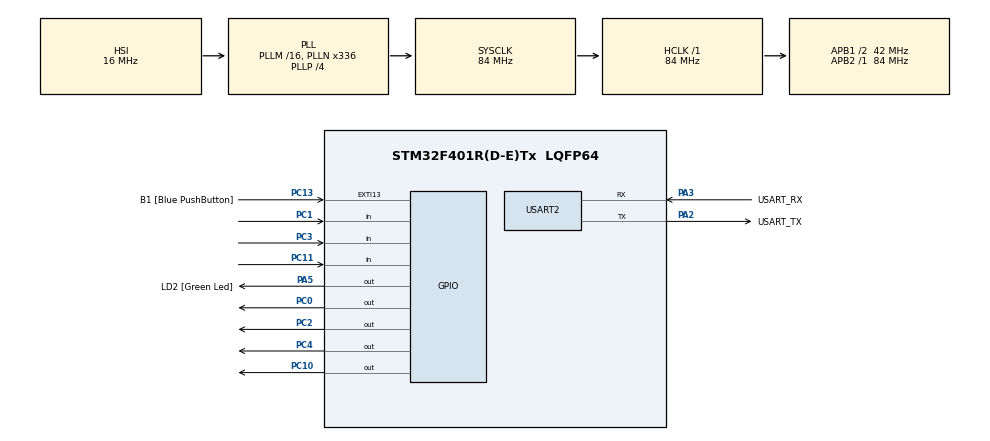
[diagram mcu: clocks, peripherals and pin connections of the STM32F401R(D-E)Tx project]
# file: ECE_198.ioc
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Mcu.Family=STM32F4
Mcu.Name=STM32F401R(D-E)Tx
Mcu.Package=LQFP64
NVIC.PriorityGroup=NVIC_PRIORITYGROUP_0
PA13.GPIO_Label=TMS
PA13.Mode=Serial_Wire
PA13.Signal=SYS_JTMS-SWDIO
PA14.GPIO_Label=TCK
PA14.Mode=Serial_Wire
PA14.Signal=SYS_JTCK-SWCLK
PA2.GPIO_Label=USART_TX
PA2.GPIO_Mode=GPIO_MODE_AF_PP
PA2.GPIO_PuPd=GPIO_NOPULL
PA2.GPIO_Speed=GPIO_SPEED_FREQ_LOW
PA2.Mode=Asynchronous
PA2.Signal=USART2_TX
PA3.GPIO_Label=USART_RX
PA3.GPIO_Mode=GPIO_MODE_AF_PP
PA3.GPIO_PuPd=GPIO_NOPULL
PA3.GPIO_Speed=GPIO_SPEED_FREQ_LOW
PA3.Mode=Asynchronous
PA3.Signal=USART2_RX
PA5.GPIO_Label=LD2 [Green Led]
PA5.GPIO_Mode=GPIO_MODE_OUTPUT_PP
PA5.GPIO_PuPd=GPIO_NOPULL
PA5.GPIO_Speed=GPIO_SPEED_FREQ_LOW
PA5.Signal=GPIO_Output
PB3.GPIO_Label=SWO
PB3.Signal=SYS_JTDO-SWO
PC0.Signal=GPIO_Output
PC1.Signal=GPIO_Input
PC10.Signal=GPIO_Output
PC11.Signal=GPIO_Input
PC13-ANTI_TAMP.GPIO_Label=B1 [Blue PushButton]
PC13-ANTI_TAMP.GPIO_ModeDefaultEXTI=GPIO_MODE_IT_FALLING
PC13-ANTI_TAMP.GPIO_PuPd=GPIO_NOPULL
PC13-ANTI_TAMP.Signal=GPXTI13
PC14-OSC32_IN.Mode=LSE-External-Oscillator
PC14-OSC32_IN.Signal=RCC_OSC32_IN
PC15-OSC32_OUT.Mode=LSE-External-Oscillator
PC15-OSC32_OUT.Signal=RCC_OSC32_OUT
PC2.Signal=GPIO_Output
PC3.Signal=GPIO_Input
PC4.Signal=GPIO_Output
PH0\ -\ OSC_IN.Mode=HSE-External-Clock-Source
PH0\ -\ OSC_IN.Signal=RCC_OSC_IN
PH1\ -\ OSC_OUT.Mode=HSE-External-Clock-Source
PH1\ -\ OSC_OUT.Signal=RCC_OSC_OUT
ProjectManager.HeapSize=0x200
ProjectManager.StackSize=0x400
ProjectManager.TargetToolchain=STM32CubeIDE
RCC.48MHZClocksFreq_Value=48000000
RCC.AHBFreq_Value=84000000
RCC.APB1CLKDivider=RCC_HCLK_DIV2
RCC.APB1Freq_Value=42000000
RCC.APB1TimFreq_Value=84000000
RCC.APB2Freq_Value=84000000
RCC.APB2TimFreq_Value=84000000
RCC.CortexFreq_Value=84000000
RCC.HCLKFreq_Value=84000000
RCC.HSE_VALUE=8000000
RCC.HSI_VALUE=16000000
RCC.PLLN=336
RCC.PLLP=RCC_PLLP_DIV4
RCC.PLLQ=7
RCC.SYSCLKFreq_VALUE=84000000
RCC.SYSCLKSource=RCC_SYSCLKSOURCE_PLLCLK
RCC.VCOOutputFreq_Value=336000000
TIM10.Prescaler=8400 -1
USART2.VirtualMode=VM_ASYNC
VP_TIM10_VS_ClockSourceINT.Mode=Enable_Timer
board=NUCLEO-F401RE

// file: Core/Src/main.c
/* USER CODE BEGIN Header */
/**
 ******************************************************************************
 * @file           : main.c
 * @brief          : Main program body
 ******************************************************************************
 * @attention
 *
 * Copyright (c) 2023 STMicroelectronics.
 * All rights reserved.
 *
 * This software is licensed under terms that can be found in the LICENSE file
 * in the root directory of this software component.
 * If no LICENSE file comes with this software, it is provided AS-IS.
 *
 ******************************************************************************
 */
/* USER CODE END Header */
#include "main.h"
#include "tim.h"
#include "usart.h"
#include "gpio.h"

/* USER CODE BEGIN Includes */
#include <stdlib.h>
#include <stdbool.h>
/* USER CODE END Includes */

/* USER CODE BEGIN PV */
//TIM_HandleTypeDef htim10;
/* USER CODE END PV */

void SystemClock_Config(void);

/* USER CODE BEGIN 0 */
bool timePassed(TIM_HandleTypeDef *timer, uint16_t passed_ms,
		uint16_t *start_time, uint16_t khz) {
	uint16_t ticks_to_check = passed_ms * khz;
	uint16_t current_time = __HAL_TIM_GET_COUNTER(timer);
	uint16_t time_diff =
			(current_time >= *start_time) ?
					(current_time - *start_time) :
					((UINT16_MAX - *start_time) + current_time);
	if (time_diff >= ticks_to_check) {
		*start_time += ticks_to_check;
		if (*start_time > UINT16_MAX) {
			*start_time -= UINT16_MAX;
		}
		return true;
	}
	return false;
}
/* USER CODE END 0 */

int main(void)
{
  /* USER CODE BEGIN 1 */
	uint16_t timer_val;
  /* USER CODE END 1 */

  /* MCU Configuration--------------------------------------------------------*/

  /* Reset of all peripherals, Initializes the Flash interface and the Systick. */
  HAL_Init();

  /* Configure the system clock */
  SystemClock_Config();

  /* Initialize all configured peripherals */
  MX_GPIO_Init();
  MX_USART2_UART_Init();
  MX_TIM10_Init();
  /* USER CODE BEGIN 2 */
	HAL_TIM_Base_Start(&htim10);

	timer_val = __HAL_TIM_GET_COUNTER(&htim10);
  /* USER CODE END 2 */

  /* Infinite loop */
  /* USER CODE BEGIN WHILE */
	while (1) {
		if(HAL_GPIO_ReadPin(GPIOC, GPIO_PIN_3) == GPIO_PIN_SET){
			HAL_GPIO_WritePin(GPIOC, GPIO_PIN_2, GPIO_PIN_SET);
			HAL_GPIO_WritePin(GPIOC, GPIO_PIN_0, GPIO_PIN_SET);
		}else{
			HAL_GPIO_WritePin(GPIOC, GPIO_PIN_2, GPIO_PIN_RESET);
			HAL_GPIO_WritePin(GPIOC, GPIO_PIN_0, GPIO_PIN_RESET);
		}
		if(HAL_GPIO_ReadPin(GPIOC, GPIO_PIN_1) == GPIO_PIN_SET){
			HAL_GPIO_WritePin(GPIOC, GPIO_PIN_4, GPIO_PIN_SET);
		}else{
			HAL_GPIO_WritePin(GPIOC, GPIO_PIN_4, GPIO_PIN_RESET);
		}
    /* USER CODE END WHILE */

	}
}

void SystemClock_Config(void)
{
  RCC_OscInitTypeDef RCC_OscInitStruct = {0};
  RCC_ClkInitTypeDef RCC_ClkInitStruct = {0};

  /** Configure the main internal regulator output voltage
  */
  __HAL_RCC_PWR_CLK_ENABLE();
  __HAL_PWR_VOLTAGESCALING_CONFIG(PWR_REGULATOR_VOLTAGE_SCALE2);

  /** Initializes the RCC Oscillators according to the specified parameters
  * in the RCC_OscInitTypeDef structure.
  */
  RCC_OscInitStruct.OscillatorType = RCC_OSCILLATORTYPE_HSI;
  RCC_OscInitStruct.HSIState = RCC_HSI_ON;
  RCC_OscInitStruct.HSICalibrationValue = RCC_HSICALIBRATION_DEFAULT;
  RCC_OscInitStruct.PLL.PLLState = RCC_PLL_ON;
  RCC_OscInitStruct.PLL.PLLSource = RCC_PLLSOURCE_HSI;
  RCC_OscInitStruct.PLL.PLLM = 16;
  RCC_OscInitStruct.PLL.PLLN = 336;
  RCC_OscInitStruct.PLL.PLLP = RCC_PLLP_DIV4;
  RCC_OscInitStruct.PLL.PLLQ = 7;
  if (HAL_RCC_OscConfig(&RCC_OscInitStruct) != HAL_OK)
  {
    Error_Handler();
  }

  /** Initializes the CPU, AHB and APB buses clocks
  */
  RCC_ClkInitStruct.ClockType = RCC_CLOCKTYPE_HCLK|RCC_CLOCKTYPE_SYSCLK
                              |RCC_CLOCKTYPE_PCLK1|RCC_CLOCKTYPE_PCLK2;
  RCC_ClkInitStruct.SYSCLKSource = RCC_SYSCLKSOURCE_PLLCLK;
  RCC_ClkInitStruct.AHBCLKDivider = RCC_SYSCLK_DIV1;
  RCC_ClkInitStruct.APB1CLKDivider = RCC_HCLK_DIV2;
  RCC_ClkInitStruct.APB2CLKDivider = RCC_HCLK_DIV1;

  if (HAL_RCC_ClockConfig(&RCC_ClkInitStruct, FLASH_LATENCY_2) != HAL_OK)
  {
    Error_Handler();
  }
}

void Error_Handler(void)
{
	__disable_irq();
	while (1) {
	}
}
